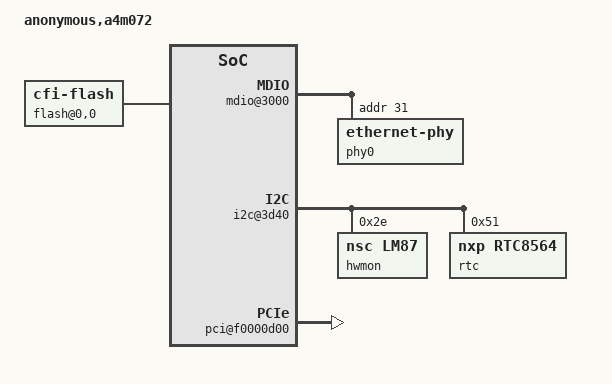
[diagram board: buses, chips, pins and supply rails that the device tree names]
/*
 * a4m072 board Device Tree Source
 *
 * Copyright (C) 2011 DENX Software Engineering GmbH
 * Heiko Schocher <hs@denx.de>
 *
 * Copyright (C) 2007 Semihalf
 * Marian Balakowicz <m8@semihalf.com>
 *
 * This program is free software; you can redistribute  it and/or modify it
 * under  the terms of  the GNU General  Public License as published by the
 * Free Software Foundation;  either version 2 of the  License, or (at your
 * option) any later version.
 */

/include/ "mpc5200b.dtsi"

/ {
	model = "anonymous,a4m072";
	compatible = "anonymous,a4m072";

	soc5200@f0000000 {
		#address-cells = <1>;
		#size-cells = <1>;
		compatible = "fsl,mpc5200b-immr";
		ranges = <0 0xf0000000 0x0000c000>;
		reg = <0xf0000000 0x00000100>;
		bus-frequency = <0>; /* From boot loader */
		system-frequency = <0>; /* From boot loader */

		cdm@200 {
			fsl,init-ext-48mhz-en = <0x0>;
			fsl,init-fd-enable = <0x01>;
			fsl,init-fd-counters = <0x3333>;
		};

		timer@600 {
			fsl,has-wdt;
		};

		gpt3: timer@630 { /* General Purpose Timer in GPIO mode */
			compatible = "fsl,mpc5200b-gpt-gpio","fsl,mpc5200-gpt-gpio";
			gpio-controller;
			#gpio-cells = <2>;
		};

		gpt4: timer@640 { /* General Purpose Timer in GPIO mode */
			compatible = "fsl,mpc5200b-gpt-gpio","fsl,mpc5200-gpt-gpio";
			gpio-controller;
			#gpio-cells = <2>;
		};

		gpt5: timer@650 { /* General Purpose Timer in GPIO mode */
			compatible = "fsl,mpc5200b-gpt-gpio","fsl,mpc5200-gpt-gpio";
			gpio-controller;
			#gpio-cells = <2>;
		};

		spi@f00 {
			status = "disabled";
		};

		psc@2000 {
			compatible = "fsl,mpc5200b-psc-uart","fsl,mpc5200-psc-uart";
			reg = <0x2000 0x100>;
			interrupts = <2 1 0>;
		};

		psc@2200 {
			compatible = "fsl,mpc5200b-psc-uart","fsl,mpc5200-psc-uart";
			reg = <0x2200 0x100>;
			interrupts = <2 2 0>;
		};

		psc@2400 {
			compatible = "fsl,mpc5200b-psc-uart","fsl,mpc5200-psc-uart";
			reg = <0x2400 0x100>;
			interrupts = <2 3 0>;
		};

		psc@2600 {
			status = "disabled";
		};

		psc@2800 {
			status = "disabled";
		};

		psc@2c00 {
			compatible = "fsl,mpc5200b-psc-uart","fsl,mpc5200-psc-uart";
			reg = <0x2c00 0x100>;
			interrupts = <2 4 0>;
		};

		ethernet@3000 {
			phy-handle = <&phy0>;
		};

		mdio@3000 {
			phy0: ethernet-phy@1f {
				reg = <0x1f>;
				interrupts = <1 2 0>; /* IRQ 2 active low */
			};
		};

		i2c@3d00 {
			status = "disabled";
		};

		i2c@3d40 {
			hwmon@2e {
				compatible = "nsc,lm87";
				reg = <0x2e>;
			};
			rtc@51 {
				compatible = "nxp,rtc8564";
				reg = <0x51>;
			};
		};
	};

	localbus {
		compatible = "fsl,mpc5200b-lpb","simple-bus";
		#address-cells = <2>;
		#size-cells = <1>;
		ranges = <0 0 0xfe000000 0x02000000
			  1 0 0x62000000 0x00400000
			  2 0 0x64000000 0x00200000
			  3 0 0x66000000 0x01000000
			  6 0 0x68000000 0x01000000
			  7 0 0x6a000000 0x00000004>;

		flash@0,0 {
			compatible = "cfi-flash";
			reg = <0 0 0x02000000>;
			bank-width = <2>;
			#size-cells = <1>;
			#address-cells = <1>;
		};
		sram0@1,0 {
			compatible = "mtd-ram";
			reg = <1 0x00000 0x00400000>;
			bank-width = <2>;
		};
	};

	pci@f0000d00 {
		#interrupt-cells = <1>;
		#size-cells = <2>;
		#address-cells = <3>;
		device_type = "pci";
		compatible = "fsl,mpc5200-pci";
		reg = <0xf0000d00 0x100>;
		interrupt-map-mask = <0xf800 0 0 7>;
		interrupt-map = <
				 /* IDSEL 0x16 */
				 0xc000 0 0 1 &mpc5200_pic 1 3 3
				 0xc000 0 0 2 &mpc5200_pic 1 3 3
				 0xc000 0 0 3 &mpc5200_pic 1 3 3
				 0xc000 0 0 4 &mpc5200_pic 1 3 3>;
		clock-frequency = <0>; /* From boot loader */
		interrupts = <2 8 0 2 9 0 2 10 0>;
		bus-range = <0 0>;
		ranges = <0x42000000 0 0x80000000 0x80000000 0 0x10000000
			  0x02000000 0 0x90000000 0x90000000 0 0x10000000
			  0x01000000 0 0x00000000 0xa0000000 0 0x01000000>;
	};
};
